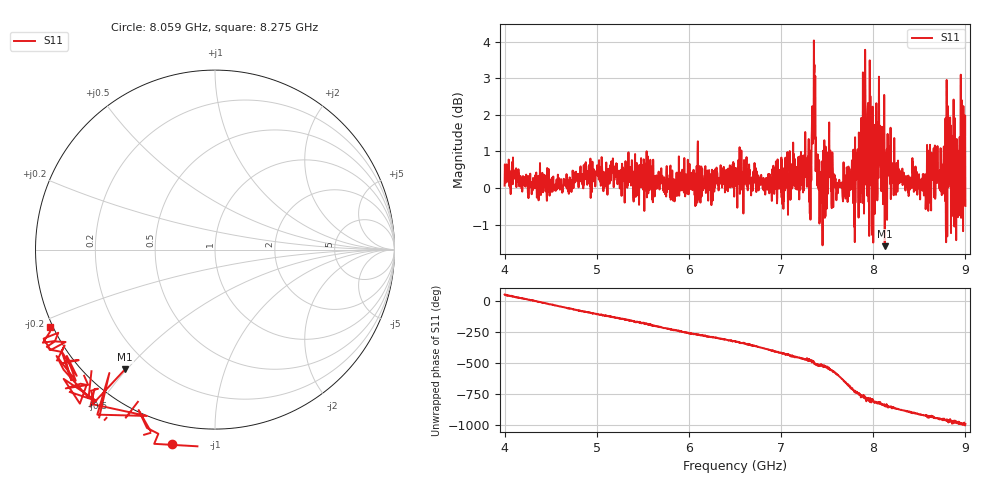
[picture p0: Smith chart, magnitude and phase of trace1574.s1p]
! Created with skrf 1.8.0 (http://scikit-rf.org).
# Hz S RI R 50.0
!freq ReS11 ImS11
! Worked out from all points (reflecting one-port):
!   1601 points, 4 GHz to 9 GHz, reference 50 ohm
!   lowest |S11| = -1.6 dB at 8.125 GHz (marker M1), VSWR 10.98, Z = 5.68 - j24.7 ohm
!   phase of S11 starts at 53 deg and turns -1046 deg over the sweep
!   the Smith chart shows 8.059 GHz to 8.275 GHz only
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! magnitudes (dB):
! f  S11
! 4 GHz  0.1
! 4.625 GHz  -0.1
! 5.25 GHz  0.0
! 5.875 GHz  0.2
! 6.5 GHz  0.1
! 7.125 GHz  0.4
! 7.303 GHz  -0.4
! 7.328 GHz  0.2
! 7.347 GHz  2.2
! 7.356 GHz  4.0
! 7.381 GHz  0.7
! 7.4 GHz  0.0
! 7.428 GHz  0.4
! 7.509 GHz  0.3
! 7.591 GHz  0.3
! 7.75 GHz  -0.1
! 7.816 GHz  0.5
! 7.928 GHz  1.0
! 7.981 GHz  1.3
! 8.022 GHz  0.9
! 8.047 GHz  -0.1
! 8.125 GHz  -1.6
! 8.375 GHz  0.1
! 8.766 GHz  1.1
! 8.834 GHz  1.9
! 8.9 GHz  -1.4
! 8.972 GHz  0.7
! 9 GHz  -0.5
